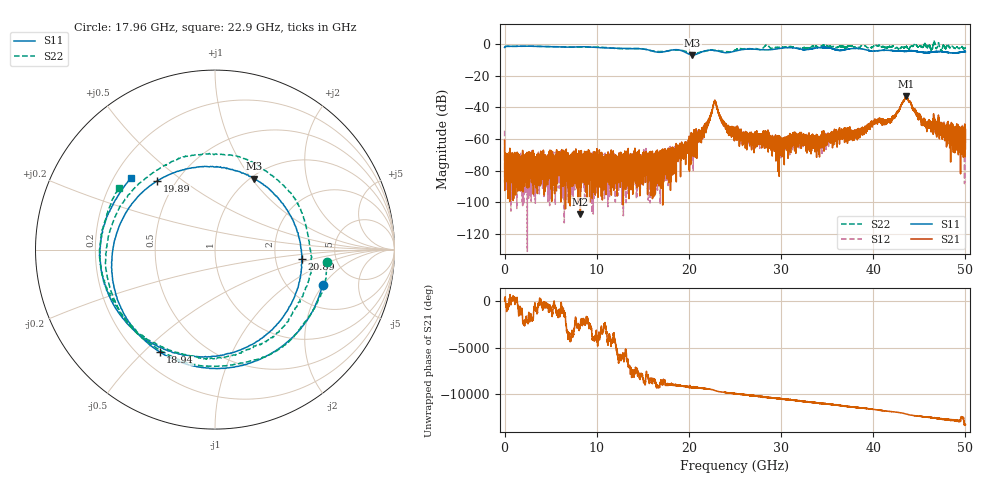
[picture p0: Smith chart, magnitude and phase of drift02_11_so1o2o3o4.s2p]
!Created with skrf (http://scikit-rf.org).
# Hz S RI R 50.0
!freq ReS11 ImS11 ReS21 ImS21 ReS12 ImS12 ReS22 ImS22
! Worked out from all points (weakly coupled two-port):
!   10001 points, 300 kHz to 50 GHz, reference 50 ohm
!   highest |S21| = -32.99 dB at 43.59 GHz (marker M1); lowest = -107.6 dB at 8.22 GHz (marker M2)
!   lowest |S11| = -6.9 dB at 20.38 GHz (marker M3), VSWR 2.63, Z = 51.8 + j51.2 ohm
!   |S11| at or under -10 dB: nowhere
!   |S22| runs from -5.7 to 2.3 dB; largest |S21 - S12| = 0.0039
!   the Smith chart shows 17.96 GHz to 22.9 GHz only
!   S11 on the Smith chart (normalised r, x): 17.96 GHz: 3.01, -1.98; 18.94 GHz: 0.29, -0.56; 19.89 GHz: 0.39, +0.40; 20.89 GHz: 2.83, -0.37; 22.9 GHz: 0.27, +0.35
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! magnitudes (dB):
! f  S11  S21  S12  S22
! 300 kHz  -2.1  -60.9  -54.7  -2.1
! 275.3 MHz  -1.4  -74.7  -77.7  -1.4
! 8.22 GHz  -1.8  -107.6  -70.6  -1.9
! 8.335 GHz  -1.7  -78.8  -80.0  -1.9
! 16.67 GHz  -5.2  -78.2  -72.8  -4.7
! 17.96 GHz  -4.0  -69.9  -67.4  -4.1
! 18.94 GHz  -3.8  -63.9  -70.2  -3.9
! 19.89 GHz  -6.0  -63.1  -65.0  -5.1
! 20.38 GHz  -6.9  -59.4  -66.1  -5.4
! 20.89 GHz  -6.3  -64.5  -58.0  -5.6
! 21.74 GHz  -4.4  -52.7  -52.2  -4.5
! 22.9 GHz  -4.2  -36.7  -36.9  -3.9
! 23.93 GHz  -5.4  -51.5  -52.1  -4.7
! 25 GHz  -4.5  -56.5  -57.3  -3.9
! 29.88 GHz  -2.7  -65.1  -61.2  -2.0
! 33.34 GHz  -3.0  -62.1  -58.6  -1.6
! 38.1 GHz  -2.7  -57.0  -56.6  -2.4
! 41.67 GHz  -4.0  -48.5  -48.1  -1.9
! 43.59 GHz  -4.6  -33.0  -33.4  -1.5
! 45.63 GHz  -5.4  -49.3  -49.7  0.1
! 49.22 GHz  -5.5  -55.8  -57.9  -2.6
! 50 GHz  -4.8  -66.4  -56.1  -2.6
